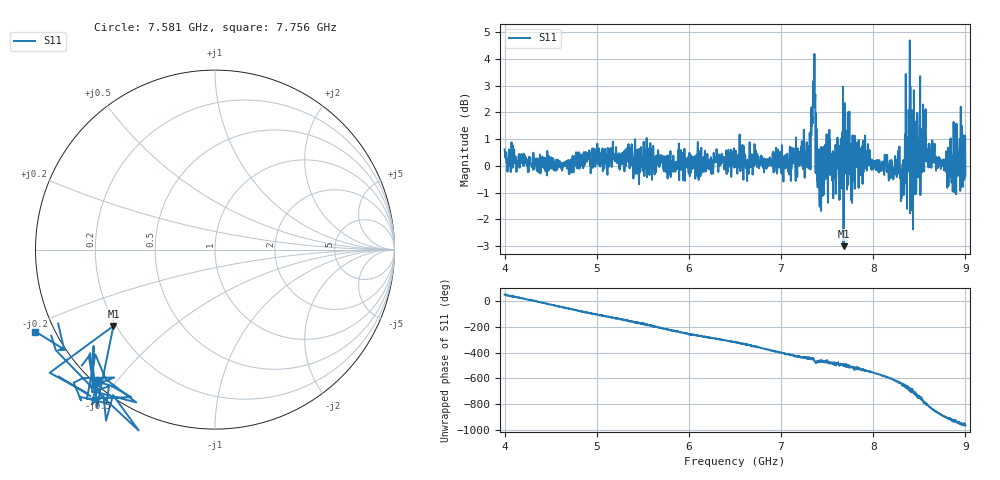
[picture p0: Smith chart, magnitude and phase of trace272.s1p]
! Created with skrf 1.8.0 (http://scikit-rf.org).
# Hz S RI R 50.0
!freq ReS11 ImS11
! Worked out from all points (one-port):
!   1601 points, 4 GHz to 9 GHz, reference 50 ohm
!   lowest |S11| = -3.0 dB at 7.678 GHz (marker M1), VSWR 5.84, Z = 9.48 - j16.2 ohm
!   |S11| at or under -10 dB: nowhere
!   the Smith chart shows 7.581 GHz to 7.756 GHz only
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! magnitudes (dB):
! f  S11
! 4 GHz  0.6
! 4.625 GHz  -0.2
! 5.25 GHz  -0.1
! 5.875 GHz  0.0
! 6.5 GHz  0.2
! 7.125 GHz  0.4
! 7.281 GHz  0.0
! 7.316 GHz  0.5
! 7.347 GHz  3.2
! 7.369 GHz  2.5
! 7.4 GHz  -0.3
! 7.412 GHz  -0.1
! 7.538 GHz  0.0
! 7.575 GHz  0.2
! 7.619 GHz  0.8
! 7.678 GHz  -3.0
! 7.75 GHz  0.3
! 8.259 GHz  -0.1
! 8.316 GHz  -0.1
! 8.334 GHz  0.0
! 8.375 GHz  0.8
! 8.422 GHz  -1.7
! 8.425 GHz  -0.1
! 8.547 GHz  1.2
! 8.612 GHz  0.7
! 8.875 GHz  0.4
! 8.959 GHz  1.5
! 9 GHz  -0.4
